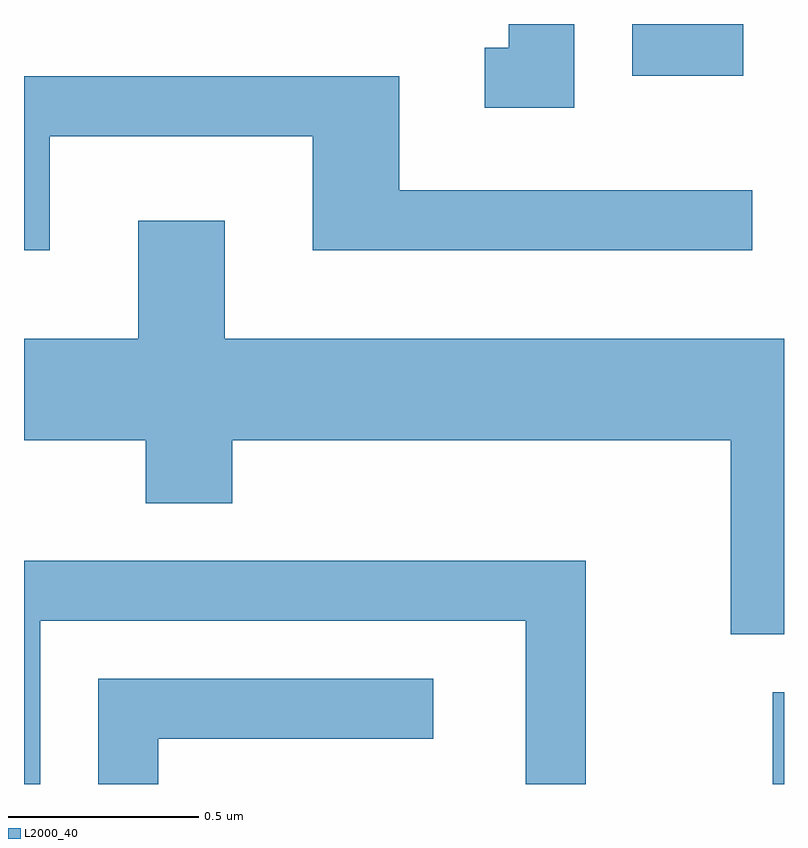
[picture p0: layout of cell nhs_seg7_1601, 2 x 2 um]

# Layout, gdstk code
import gdstk
lib = gdstk.Library(unit=1e-6, precision=1e-09)
def R(c, l, rs):  # rectangles x0, y0, x1, y1
    for r in rs: c.add(gdstk.rectangle(r[:2], r[2:], *l))
def P(c, l, *ps):  # polygons
    for p in ps: c.add(gdstk.Polygon(p, *l))
L2000_40 = (2000, 40)

nhs_seg7_1601 = lib.new_cell('nhs_seg7_1601')
R(nhs_seg7_1601, L2000_40, [(198.581,1762.252,198.611,1762.494), (198.211,1764.116,198.504,1764.252)])
P(nhs_seg7_1601, L2000_40, [(198.059,1764.252),(197.886,1764.252),(197.886,1764.189),(197.823,1764.189),(197.823,1764.031),(198.059,1764.031)],
  [(196.679,1763.956),(197.371,1763.956),(197.371,1763.656),(198.528,1763.656),(198.528,1763.814),(197.599,1763.814),(197.599,1764.114),(196.611,1764.114),(196.611,1763.656),(196.679,1763.656)],
  [(198.611,1763.424),(197.139,1763.424),(197.139,1763.734),(196.911,1763.734),(196.911,1763.424),(196.611,1763.424),(196.611,1763.156),(196.931,1763.156),(196.931,1762.991),(197.159,1762.991),(197.159,1763.156),(198.471,1763.156),(198.471,1762.646),(198.611,1762.646)],
  [(196.654,1762.681),(197.931,1762.681),(197.931,1762.252),(198.089,1762.252),(198.089,1762.839),(196.611,1762.839),(196.611,1762.252),(196.654,1762.252)],
  [(196.964,1762.371),(197.688,1762.371),(197.688,1762.529),(196.806,1762.529),(196.806,1762.252),(196.964,1762.252)])

lib.write_gds('nhs_seg7_1601.gds')
